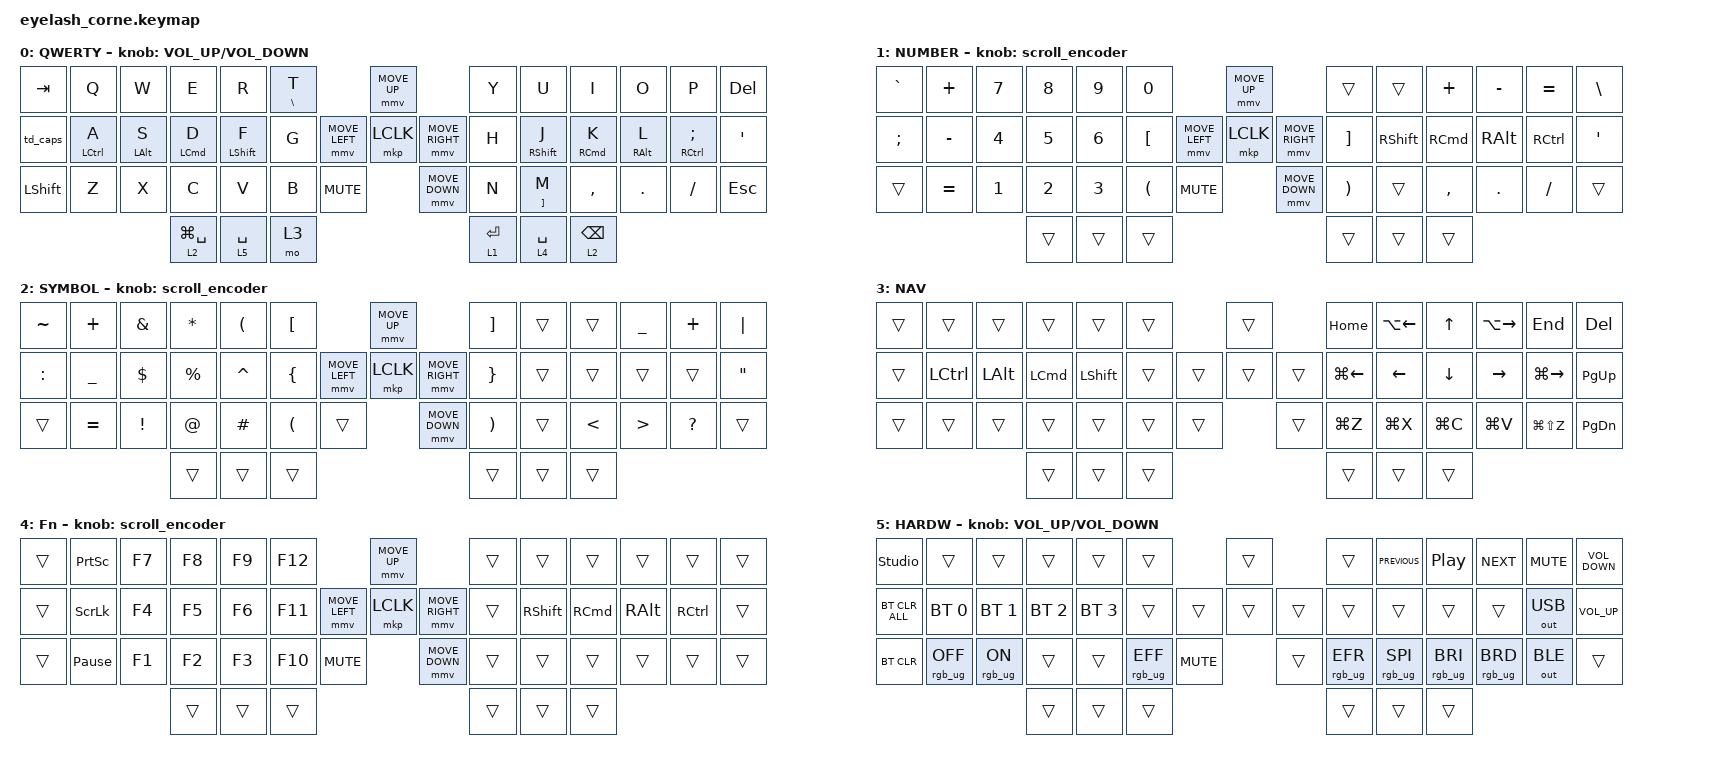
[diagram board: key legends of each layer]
#define ZMK_POINTING_DEFAULT_MOVE_VAL 1200  // 600
#define ZMK_POINTING_DEFAULT_SCRL_VAL 25   // 10

#include <input/processors.dtsi>
#include <zephyr/dt-bindings/input/input-event-codes.h>
#include <behaviors.dtsi>
#include <dt-bindings/zmk/bt.h>
#include <dt-bindings/zmk/keys.h>
#include <dt-bindings/zmk/outputs.h>
#include <dt-bindings/zmk/pointing.h>
#include <dt-bindings/zmk/rgb.h>

&mmv_input_listener { input-processors = <&zip_xy_scaler 2 1>; };

&msc_input_listener { input-processors = <&zip_scroll_scaler 2 1>; };

&msc {
    acceleration-exponent = <1>;      // 0
    time-to-max-speed-ms = <100>;       // 300
    delay-ms = <0>;                   // 0
};

&mmv {
    time-to-max-speed-ms = <500>;
    acceleration-exponent = <1>;
    trigger-period-ms = <16>;
};

&soft_off { hold-time-ms = <2000>; };

/ {
    behaviors {
        td_caps: td_caps {
            compatible = "zmk,behavior-tap-dance";
            display-name = "Shift/Caps Lock Tap Dance";
            #binding-cells = <0>;
            bindings = <&kp LCTRL>, <&kp CAPS>;
        };

        hml: hml {
            compatible = "zmk,behavior-hold-tap";
            label = "HML";
            bindings = <&kp>, <&kp>;

            #binding-cells = <2>;
            quick-tap-ms = <175>;
            tapping-term-ms = <280>;
            require-prior-idle-ms = <150>;
            flavor = "balanced";
        };

        td_input_source: td_input_source {
            compatible = "zmk,behavior-tap-dance";
            label = "TD_INPUT_SOURCE";
            #binding-cells = <0>;
            bindings = <&kp ESC>, <&kp LG(SPACE)>;
        };

        quick_tap_mo: quick_tap_mo {
            compatible = "zmk,behavior-hold-tap";
            label = "QUICK_TAP_MO";
            bindings = <&mo>, <&kp>;

            #binding-cells = <2>;
            tapping-term-ms = <200>;
            quick-tap-ms = <175>;
        };
    };

    rgb_encoder: rgb_encoder {
        compatible = "zmk,behavior-sensor-rotate";
        #sensor-binding-cells = <0>;
        bindings = <&rgb_ug RGB_BRI>, <&rgb_ug RGB_BRD>;
    };

    scroll_encoder: scroll_encoder {
        compatible = "zmk,behavior-sensor-rotate";
        #sensor-binding-cells = <0>;
        bindings = <&msc SCRL_DOWN>, <&msc SCRL_UP>;

        tap-ms = <100>;
    };

    combos {
        compatible = "zmk,combos";

        softoff {
            bindings = <&soft_off>;
            key-positions = <1 15 29>;
        };

        bootload_l {
            bindings = <&bootloader>;
            key-positions = <5 18>;
            layers = <5>;
        };

        bootload_r {
            bindings = <&bootloader>;
            key-positions = <7 22>;
            layers = <5>;
        };
    };

    keymap {
        compatible = "zmk,keymap";

        default_layer {
            display-name = "QWERTY";
            bindings = <
&kp TAB         &kp Q                &kp W            &kp E                &kp R              &mt BACKSLASH T                                &mmv MOVE_UP                     &kp Y        &kp U                  &kp I                      &kp O             &kp P                         &kp DEL
&td_caps        &hml LEFT_CONTROL A  &hml LEFT_ALT S  &hml LEFT_COMMAND D  &hml LEFT_SHIFT F  &kp G                          &mmv MOVE_LEFT  &mkp LCLK       &mmv MOVE_RIGHT  &kp H        &hml RIGHT_SHIFT J     &hml RIGHT_COMMAND K       &hml RIGHT_ALT L  &hml RIGHT_CONTROL SEMICOLON  &kp SQT
&kp LEFT_SHIFT  &kp Z                &kp X            &kp C                &kp V              &kp B            &kp C_MUTE                    &mmv MOVE_DOWN                   &kp N        &mt RIGHT_BRACKET M    &kp COMMA                  &kp DOT           &kp FSLH                      &kp ESC
                                                      &lt 2 LG(SPACE)      &lt 5 SPACE        &mo 3                                                                           &lt 1 ENTER  &quick_tap_mo 4 SPACE  &quick_tap_mo 2 BACKSPACE
            >;

            sensor-bindings = <&inc_dec_kp C_VOLUME_UP C_VOLUME_DOWN>;
        };

        layer_num {
            display-name = "NUMBER";
            bindings = <
&kp GRAVE  &kp PLUS   &kp N7  &kp N8  &kp N9  &kp N0                                              &mmv MOVE_UP                     &trans                 &trans           &kp PLUS           &kp MINUS      &kp EQUAL          &kp BACKSLASH
&kp SEMI   &kp MINUS  &kp N4  &kp N5  &kp N6  &kp LEFT_BRACKET                    &mmv MOVE_LEFT  &mkp LCLK       &mmv MOVE_RIGHT  &kp RIGHT_BRACKET      &kp RIGHT_SHIFT  &kp RIGHT_COMMAND  &kp RIGHT_ALT  &kp RIGHT_CONTROL  &kp SINGLE_QUOTE
&trans     &kp EQUAL  &kp N1  &kp N2  &kp N3  &kp LEFT_PARENTHESIS  &kp C_MUTE                    &mmv MOVE_DOWN                   &kp RIGHT_PARENTHESIS  &trans           &kp COMMA          &kp DOT        &kp SLASH          &trans
                              &trans  &trans  &trans                                                                               &trans                 &trans           &trans
            >;

            sensor-bindings = <&scroll_encoder>;
        };

        layer_sym {
            display-name = "SYMBOL";
            bindings = <
&kp TILDE  &kp PLUS   &kp AMPS    &kp ASTRK    &kp LEFT_PARENTHESIS  &kp LEFT_BRACKET                                &mmv MOVE_UP                     &kp RIGHT_BRACKET      &trans  &trans         &kp UNDER         &kp PLUS      &kp PIPE
&kp COLON  &kp UNDER  &kp DOLLAR  &kp PERCENT  &kp CARET             &kp LEFT_BRACE                  &mmv MOVE_LEFT  &mkp LCLK       &mmv MOVE_RIGHT  &kp RIGHT_BRACE        &trans  &trans         &trans            &trans        &kp DOUBLE_QUOTES
&trans     &kp EQUAL  &kp EXCL    &kp AT       &kp HASH              &kp LEFT_PARENTHESIS  &trans                    &mmv MOVE_DOWN                   &kp RIGHT_PARENTHESIS  &trans  &kp LESS_THAN  &kp GREATER_THAN  &kp QUESTION  &trans
                                  &trans       &trans                &trans                                                                           &trans                 &trans  &trans
            >;

            sensor-bindings = <&scroll_encoder>;
        };

        layer_nav {
            bindings = <
&trans  &trans     &trans        &trans            &trans          &trans                    &trans          &kp HOME      &kp LA(LEFT_ARROW)  &kp UP_ARROW    &kp LA(RIGHT)  &kp END        &kp DEL
&trans  &kp LCTRL  &kp LEFT_ALT  &kp LEFT_COMMAND  &kp LEFT_SHIFT  &trans            &trans  &trans  &trans  &kp LG(LEFT)  &kp LEFT_ARROW      &kp DOWN_ARROW  &kp RIGHT      &kp LG(RIGHT)  &kp PG_UP
&trans  &trans     &trans        &trans            &trans          &trans  &trans            &trans          &kp LG(Z)     &kp LG(X)           &kp LG(C)       &kp LG(V)      &kp LG(LS(Z))  &kp PG_DN
                                 &trans            &trans          &trans                                    &trans        &trans              &trans
            >;

            label = "NAV";
        };

        layer_fn {
            display-name = "Fn";
            bindings = <
&trans  &kp PRINTSCREEN  &kp F7  &kp F8  &kp F9  &kp F12                                &mmv MOVE_UP                     &trans  &trans           &trans             &trans         &trans     &trans
&trans  &kp SCROLLLOCK   &kp F4  &kp F5  &kp F6  &kp F11                &mmv MOVE_LEFT  &mkp LCLK       &mmv MOVE_RIGHT  &trans  &kp RIGHT_SHIFT  &kp RIGHT_COMMAND  &kp RIGHT_ALT  &kp RCTRL  &trans
&trans  &kp PAUSE_BREAK  &kp F1  &kp F2  &kp F3  &kp F10  &kp C_MUTE                    &mmv MOVE_DOWN                   &trans  &trans           &trans             &trans         &trans     &trans
                                 &trans  &trans  &trans                                                                  &trans  &trans           &trans
            >;

            sensor-bindings = <&scroll_encoder>;
        };

        layer_sys {
            bindings = <
&studio_unlock  &trans           &trans          &trans        &trans        &trans                                 &trans          &trans           &kp C_PREVIOUS   &kp C_PLAY_PAUSE  &kp C_NEXT       &kp C_MUTE    &kp C_VOLUME_DOWN
&bt BT_CLR_ALL  &bt BT_SEL 0     &bt BT_SEL 1    &bt BT_SEL 2  &bt BT_SEL 3  &trans                         &trans  &trans  &trans  &trans           &trans           &trans            &trans           &out OUT_USB  &kp C_VOLUME_UP
&bt BT_CLR      &rgb_ug RGB_OFF  &rgb_ug RGB_ON  &trans        &trans        &rgb_ug RGB_EFF  &kp C_MUTE            &trans          &rgb_ug RGB_EFR  &rgb_ug RGB_SPI  &rgb_ug RGB_BRI   &rgb_ug RGB_BRD  &out OUT_BLE  &trans
                                                 &trans        &trans        &trans                                                 &trans           &trans           &trans
            >;

            label = "HARDW";
            sensor-bindings = <&inc_dec_kp C_VOLUME_UP C_VOLUME_DOWN>;
        };
    };
};
